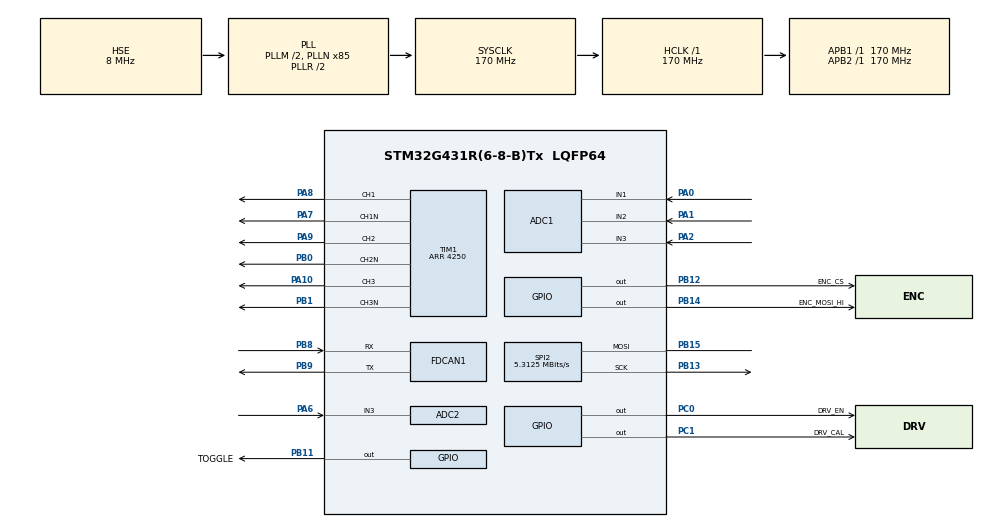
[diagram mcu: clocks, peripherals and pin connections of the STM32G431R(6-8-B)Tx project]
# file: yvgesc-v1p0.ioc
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ADC1.Channel-0\#ChannelRegularConversion=ADC_CHANNEL_VREFINT
ADC1.ClockPrescaler=ADC_CLOCK_SYNC_PCLK_DIV4
ADC1.EOCSelection=ADC_EOC_SEQ_CONV
ADC1.EnableInjectedConversion=ENABLE
ADC1.ExternalTrigInjecConv=ADC_EXTERNALTRIGINJEC_T1_TRGO2
ADC1.ExternalTrigInjecConvEdge=ADC_EXTERNALTRIGINJECCONV_EDGE_FALLING
ADC1.InjNumberOfConversion=3
ADC1.InjectedChannel-10\#ChannelInjectedConversion=ADC_CHANNEL_3
ADC1.InjectedChannel-8\#ChannelInjectedConversion=ADC_CHANNEL_1
ADC1.InjectedChannel-9\#ChannelInjectedConversion=ADC_CHANNEL_2
ADC1.InjectedOffsetNumber-10\#ChannelInjectedConversion=ADC_OFFSET_NONE
ADC1.InjectedOffsetNumber-8\#ChannelInjectedConversion=ADC_OFFSET_NONE
ADC1.InjectedOffsetNumber-9\#ChannelInjectedConversion=ADC_OFFSET_NONE
ADC1.InjectedRank-10\#ChannelInjectedConversion=3
ADC1.InjectedRank-8\#ChannelInjectedConversion=1
ADC1.InjectedRank-9\#ChannelInjectedConversion=2
ADC1.InjectedSamplingTime-10\#ChannelInjectedConversion=ADC_SAMPLETIME_24CYCLES_5
ADC1.InjectedSamplingTime-8\#ChannelInjectedConversion=ADC_SAMPLETIME_24CYCLES_5
ADC1.InjectedSamplingTime-9\#ChannelInjectedConversion=ADC_SAMPLETIME_24CYCLES_5
ADC1.NbrOfConversion=1
ADC1.NbrOfConversionFlag=1
ADC1.OffsetNumber-0\#ChannelRegularConversion=ADC_OFFSET_NONE
ADC1.Overrun=ADC_OVR_DATA_OVERWRITTEN
ADC1.Rank-0\#ChannelRegularConversion=1
ADC1.Rank1_Channel=ADC_CHANNEL_1
ADC1.Rank2_Channel=ADC_CHANNEL_2
ADC1.Rank3_Channel=ADC_CHANNEL_3
ADC1.Rank4_Channel=ADC_CHANNEL_VREFINT
ADC1.SamplingTime-0\#ChannelRegularConversion=ADC_SAMPLETIME_247CYCLES_5
ADC1.master=1
ADC2.Channel-0\#ChannelRegularConversion=ADC_CHANNEL_3
ADC2.ClockPrescaler=ADC_CLOCK_SYNC_PCLK_DIV4
ADC2.NbrOfConversionFlag=1
ADC2.OffsetNumber-0\#ChannelRegularConversion=ADC_OFFSET_NONE
ADC2.Overrun=ADC_OVR_DATA_OVERWRITTEN
ADC2.Rank-0\#ChannelRegularConversion=1
ADC2.SamplingTime-0\#ChannelRegularConversion=ADC_SAMPLETIME_247CYCLES_5
FDCAN1.AutoRetransmission=ENABLE
FDCAN1.CalculateBaudRateNominal=500000
FDCAN1.CalculateTimeBitNominal=2000
FDCAN1.CalculateTimeQuantumNominal=125.0
FDCAN1.Mode=FDCAN_MODE_NORMAL
FDCAN1.NominalPrescaler=1
FDCAN1.NominalSyncJumpWidth=2
FDCAN1.NominalTimeSeg1=13
FDCAN1.NominalTimeSeg2=2
FDCAN1.StdFiltersNbr=1
Mcu.Family=STM32G4
Mcu.Name=STM32G431R(6-8-B)Tx
Mcu.Package=LQFP64
NVIC.ADC1_2_IRQn=true\:0\:0\:false\:false\:true\:true\:true\:true
NVIC.FDCAN1_IT0_IRQn=true\:1\:0\:true\:false\:true\:true\:true\:true
NVIC.PriorityGroup=NVIC_PRIORITYGROUP_4
PA0.Mode=IN1-Single-Ended
PA0.Signal=ADC1_IN1
PA1.Mode=IN2-Single-Ended
PA1.Signal=ADC1_IN2
PA10.Signal=S_TIM1_CH3
PA13.Mode=Serial_Wire
PA13.Signal=SYS_JTMS-SWDIO
PA14.Mode=Serial_Wire
PA14.Signal=SYS_JTCK-SWCLK
PA2.Mode=IN3-Single-Ended
PA2.Signal=ADC1_IN3
PA6.Mode=IN3-Single-Ended
PA6.Signal=ADC2_IN3
PA7.Mode=PWM Generation1 CH1 CH1N
PA7.Signal=TIM1_CH1N
PA8.Signal=S_TIM1_CH1
PA9.Signal=S_TIM1_CH2
PB0.Mode=PWM Generation2 CH2 CH2N
PB0.Signal=TIM1_CH2N
PB1.Mode=PWM Generation3 CH3 CH3N
PB1.Signal=TIM1_CH3N
PB11.GPIO_Label=TOGGLE
PB11.Signal=GPIO_Output
PB12.GPIO_Label=ENC_CS
PB12.PinState=GPIO_PIN_SET
PB12.Signal=GPIO_Output
PB13.Mode=Simplex_Bidirectional_Master
PB13.Signal=SPI2_SCK
PB14.GPIO_Label=ENC_MOSI_HI
PB14.PinState=GPIO_PIN_SET
PB14.Signal=GPIO_Output
PB15.Mode=Simplex_Bidirectional_Master
PB15.Signal=SPI2_MOSI
PB8-BOOT0.Mode=FDCAN_Activate
PB8-BOOT0.Signal=FDCAN1_RX
PB9.Mode=FDCAN_Activate
PB9.Signal=FDCAN1_TX
PC0.GPIO_Label=DRV_EN
PC0.Signal=GPIO_Output
PC1.GPIO_Label=DRV_CAL
PC1.Signal=GPIO_Output
PF0-OSC_IN.Mode=HSE-External-Oscillator
PF0-OSC_IN.Signal=RCC_OSC_IN
PF1-OSC_OUT.Mode=HSE-External-Oscillator
PF1-OSC_OUT.Signal=RCC_OSC_OUT
ProjectManager.HeapSize=0x200
ProjectManager.StackSize=0x400
ProjectManager.TargetToolchain=CMake
RCC.ADC12Freq_Value=170000000
RCC.AHBFreq_Value=170000000
RCC.APB1Freq_Value=170000000
RCC.APB1TimFreq_Value=170000000
RCC.APB2Freq_Value=170000000
RCC.APB2TimFreq_Value=170000000
RCC.CortexFreq_Value=170000000
RCC.EXTERNAL_CLOCK_VALUE=12288000
RCC.FDCANCLockSelection=RCC_FDCANCLKSOURCE_HSE
RCC.HCLKFreq_Value=170000000
RCC.HSE_VALUE=8000000
RCC.HSI48_VALUE=48000000
RCC.HSI_VALUE=16000000
RCC.LSE_VALUE=32768
RCC.PLLM=RCC_PLLM_DIV2
RCC.PLLN=85
RCC.PLLSourceVirtual=RCC_PLLSOURCE_HSE
RCC.SYSCLKFreq_VALUE=170000000
RCC.SYSCLKSource=RCC_SYSCLKSOURCE_PLLCLK
RCC.USBFreq_Value=170000000
RCC.VCOOutputFreq_Value=340000000
SH.S_TIM1_CH1.0=TIM1_CH1,PWM Generation1 CH1 CH1N
SH.S_TIM1_CH2.0=TIM1_CH2,PWM Generation2 CH2 CH2N
SH.S_TIM1_CH3.0=TIM1_CH3,PWM Generation3 CH3 CH3N
SPI2.BaudRatePrescaler=SPI_BAUDRATEPRESCALER_32
SPI2.CLKPhase=SPI_PHASE_2EDGE
SPI2.CalculateBaudRate=5.3125 MBits/s
SPI2.DataSize=SPI_DATASIZE_16BIT
SPI2.Direction=SPI_DIRECTION_1LINE
SPI2.Mode=SPI_MODE_MASTER
SPI2.VirtualType=VM_MASTER
TIM1.AutoReloadPreload=TIM_AUTORELOAD_PRELOAD_ENABLE
TIM1.Channel-PWM\ Generation1\ CH1\ CH1N=TIM_CHANNEL_1
TIM1.Channel-PWM\ Generation2\ CH2\ CH2N=TIM_CHANNEL_2
TIM1.Channel-PWM\ Generation3\ CH3\ CH3N=TIM_CHANNEL_3
TIM1.Channel-PWM\ Generation4\ No\ Output=TIM_CHANNEL_4
TIM1.CounterMode=TIM_COUNTERMODE_CENTERALIGNED1
TIM1.DeadTime=21
TIM1.OffStateIDLEMode=TIM_OSSI_ENABLE
TIM1.OffStateRunMode=TIM_OSSR_ENABLE
TIM1.PeriodNoDither=4250
TIM1.PulseNoDither_4=4249
TIM1.TIM_MasterOutputTrigger2=TIM_TRGO2_OC4REF
VP_ADC1_Vref_Input.Mode=IN-Vrefint
VP_SYS_VS_DBSignals.Mode=DisableDeadBatterySignals
VP_TIM1_VS_ClockSourceINT.Mode=Internal
VP_TIM1_VS_no_output4.Mode=PWM Generation4 No Output
board=custom

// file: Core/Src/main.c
/* USER CODE BEGIN Header */
/**
  ******************************************************************************
  * @file           : main.c
  * @brief          : Main program body
  ******************************************************************************
  * @attention
  *
  * Copyright (c) 2026 STMicroelectronics.
  * All rights reserved.
  *
  * This software is licensed under terms that can be found in the LICENSE file
  * in the root directory of this software component.
  * If no LICENSE file comes with this software, it is provided AS-IS.
  *
  ******************************************************************************
  */
/* USER CODE END Header */
#include "main.h"

/* USER CODE BEGIN Includes */

#include <math.h>
#include <string.h>

/* USER CODE END Includes */

ADC_HandleTypeDef hadc1;
ADC_HandleTypeDef hadc2;

FDCAN_HandleTypeDef hfdcan1;

SPI_HandleTypeDef hspi2;

TIM_HandleTypeDef htim1;

/* USER CODE BEGIN PV */

volatile uint32_t rst = 0; //reset cue
volatile uint32_t pwm_ms = 5000;  //pwm timeout

volatile float pole_pairs = 20.0f; // pole pairs

volatile uint32_t pwm_run = 0;

volatile uint32_t ol_mode = 0;    /* 1 = open-loop */
volatile float ol_amp  = 0.0f;    /* vector amplitude (0.4 A per count) */
volatile float ol_deg  = 0.0f;    /* electrical angle, degrees */
volatile float ol_rate = 0.0f;    /* degrees added per loop (~1 ms) */
volatile float ol_v = 0.0f;        /* vector amplitude in volts , ~0.1 V = 1 A */

//encoder
volatile uint16_t raw, ang, amin = 0xFFFF, amax = 0;
volatile uint32_t par_err = 0, ef_cnt = 0, reads = 0;
volatile uint32_t drv_on = 1;

volatile uint32_t ang32 = 0;

//adc
volatile uint32_t nf_adc;
volatile uint32_t adc_st;
volatile uint32_t vref_adc, vref_st, vdda_mv;

//sense outputs
volatile uint16_t so[3], so_min[3] = {4095,4095,4095}, so_max[3] = {0,0,0};
volatile uint16_t vr_min = 4095, vr_max = 0;
volatile uint32_t cal_on = 0;

//CAN
FDCAN_TxHeaderTypeDef txh;
FDCAN_RxHeaderTypeDef rxh;
uint8_t txd[8], rxd[8];
volatile uint32_t can_tx = 0, can_rx = 0, can_txerr = 0, can_rxid = 0;
volatile uint32_t can_tec = 0, can_rec = 0, can_busoff = 0;

//PWM
volatile uint32_t pwm_on = 0; /* true starting condition */
volatile uint32_t duty[3] = {0, 0, 0};     /* percent A,B,C */

//encoder alignment
volatile int32_t  off[3] = {2048, 2048, 2048};   /* zero current offsets */
volatile float    ia, ib, ic, isum;              /* phase currents, amps */
volatile uint32_t isr_cnt = 0, cal_req = 1;

#define A_PER_COUNT  (3.3f / 4095.0f / (40.0f * 0.001f))   /* ~0.0201 A/count */

volatile float    e_deg;            /* electrical angle from encoder, degrees */
volatile float    e_off = 0.0f;     /* alignment offset, degrees */
volatile uint32_t align_req = 0;    /* Alignment request between e_deg and ol_deg */

//foc
volatile uint32_t foc_mode = 0;          /* Foc mode: current PI loop drives pwm  */
volatile float id_ref = 0.0f, iq_ref = 0.0f;   /* commanded current (A) */
volatile float id, iq, vd, vq;           /* measured current and voltage in d/q */
volatile float kp = 0.3f;                /* TORQUE MODE Kp V/A   (L × ωc, ωc = 2π·1 kHz) */
volatile float ki_ts = 0.03f;            /* TORQUE MODE Ki V/A (R × ωc × Ts) */
volatile float i_max = 2.0f;             // A
volatile float i_trip = 8.0f;            // A
volatile uint32_t foc_fault = 0, isr_cycles = 0;
#define VBUS 12.0f

volatile float e_err;

//FLASH

#define CAL_ADDR  0x0801F800UL
#define CAL_PAGE  63
#define CAL_MAGIC 0xCA1B0001UL
typedef struct __attribute__((aligned(8))) {
    uint32_t magic, ver;
    float    e_off, pole_pairs;
    uint32_t sum, pad;
} cal_t;
volatile uint32_t save_req = 0, cal_ok = 0;
volatile int32_t  save_res = 0;

//velocity

volatile float vel_ref  = 0.0f;      // commanded speed, rad/s (mechanical)
volatile float vel      = 0.0f;      // estimated speed, rad/s
volatile float rpm      = 0.0f;      // same, in RPM, for viewing
volatile float pos      = 0.0f;      // multi-turn position, rad
volatile float vel_kp   = 0.05f;     // Velocity kp , A per rad/s
volatile float vel_ki   = 0.5f;      // Velocity ki , A per rad
volatile float pll_bw   = 1000.0f;   // speed estimator bandwidth, rad/s
volatile float vel_trip = 150.0f;    // overspeed trip, rad/s (150 = 1430 RPM)
volatile float iq_cmd   = 0.0f;      // current loop command (A) (Reading, not a setting)

//position/impedance
volatile uint32_t ctrl_mode = 0;   // 0 = torque mode/iq_ref, 1 = velocity/vref, 2 = position/impedance posref,ff
volatile float p_ref  = 0.0f;      /* target motor position, rad*/
volatile float v_ff   = 0.0f;      /* target velocity, rad/s */
volatile float t_ff   = 0.0f;      /* feed-forward torque, N·m */
volatile float kp_p   = 0.1f;      /* Position Kp, Nm per rad */
volatile float kd_p   = 0.002f;    /* Position kd, Nm per (rad/s) */
volatile float kt     = 0.08f;     /* Nm per A */
volatile float p_rel  = 0.0f;      /* rad */
volatile float pos_zero = 0.0f, torque_cmd = 0.0f;
volatile uint32_t zero_req = 0;

//CAN
#define NODE_ID 1
#define P_MAX 12.5f
#define V_MAX 100.0f
#define KP_MAX 5.0f
#define KD_MAX 0.1f
#define T_MAX 1.0f
volatile uint32_t can_en = 0, can_cmd_cnt = 0, can_timeout_cnt = 0, last_cmd_ms = 0;

volatile uint32_t rst_csr = 0;
volatile uint32_t last_param_ms = 0, keepalive = 1;

/* USER CODE END PV */

void SystemClock_Config(void);
static void MX_GPIO_Init(void);
static void MX_SPI2_Init(void);
static void MX_ADC2_Init(void);
static void MX_ADC1_Init(void);
static void MX_FDCAN1_Init(void);
static void MX_TIM1_Init(void);

/* USER CODE BEGIN 0 */

static uint32_t cal_sum(const cal_t *c) {
    const uint32_t *p = (const uint32_t *)c;
    return p[0] + p[1] + p[2] + p[3] + 0x5A5A5A5AUL;
}
static int cal_load(void) {
    const cal_t *c = (const cal_t *)CAL_ADDR;
    if (c->magic != CAL_MAGIC || c->sum != cal_sum(c)) return 0;
    e_off = c->e_off;  pole_pairs = c->pole_pairs;
    return 1;
}
static int32_t cal_save(void) {
    if (pwm_run) return -1;
    cal_t c = { CAL_MAGIC, 1, e_off, pole_pairs, 0, 0 };
    c.sum = cal_sum(&c);
    HAL_FLASH_Unlock();
    __HAL_FLASH_CLEAR_FLAG(FLASH_FLAG_ALL_ERRORS);
    FLASH_EraseInitTypeDef er = { .TypeErase = FLASH_TYPEERASE_PAGES,
                                  .Banks = FLASH_BANK_1, .Page = CAL_PAGE, .NbPages = 1 };
    uint32_t perr;
    if (HAL_FLASHEx_Erase(&er, &perr) != HAL_OK) { HAL_FLASH_Lock(); return -2; }
    const uint64_t *d = (const uint64_t *)&c;
    for (uint32_t i = 0; i < sizeof(c) / 8; i++)
        if (HAL_FLASH_Program(FLASH_TYPEPROGRAM_DOUBLEWORD, CAL_ADDR + 8 * i, d[i]) != HAL_OK)
            { HAL_FLASH_Lock(); return -3; }
    HAL_FLASH_Lock();
    return cal_load() ? 0 : -4;
}

static uint16_t enc_frame(void)
{
    uint16_t rx = 0;
    HAL_GPIO_WritePin(ENC_CS_GPIO_Port, ENC_CS_Pin, GPIO_PIN_RESET);
    HAL_SPI_Receive(&hspi2, (uint8_t *)&rx, 1, 10);   /* receive only, no transmit */
    HAL_GPIO_WritePin(ENC_CS_GPIO_Port, ENC_CS_Pin, GPIO_PIN_SET);
    return rx;
}

//can packing
static uint32_t f2u(float x, float lo, float hi, int bits) {
    if (x < lo) x = lo;
    if (x > hi) x = hi;
    return (uint32_t)((x - lo) * (float)((1u << bits) - 1) / (hi - lo));
}
static float u2f(uint32_t u, float lo, float hi, int bits) {
    return (float)u * (hi - lo) / (float)((1u << bits) - 1) + lo;
}

/* USER CODE END 0 */

int main(void)
{

  /* USER CODE BEGIN 1 */

	rst_csr = RCC->CSR;
	   RCC->CSR |= RCC_CSR_RMVF;

  /* USER CODE END 1 */

  /* MCU Configuration--------------------------------------------------------*/

  /* Reset of all peripherals, Initializes the Flash interface and the Systick. */
  HAL_Init();

  /* Configure the system clock */
  SystemClock_Config();

  /* Initialize all configured peripherals */
  MX_GPIO_Init();
  MX_SPI2_Init();
  MX_ADC2_Init();
  MX_ADC1_Init();
  MX_FDCAN1_Init();
  MX_TIM1_Init();
  /* USER CODE BEGIN 2 */

  CoreDebug->DEMCR |= CoreDebug_DEMCR_TRCENA_Msk;
  DWT->CYCCNT = 0;
  DWT->CTRL |= DWT_CTRL_CYCCNTENA_Msk;

  HAL_Delay(10);
  HAL_ADCEx_Calibration_Start(&hadc2, ADC_SINGLE_ENDED);
  HAL_ADCEx_Calibration_Start(&hadc1, ADC_SINGLE_ENDED);

  HAL_FDCAN_ConfigGlobalFilter(&hfdcan1, FDCAN_ACCEPT_IN_RX_FIFO0,
                               FDCAN_REJECT, FDCAN_FILTER_REMOTE, FDCAN_FILTER_REMOTE);
  HAL_FDCAN_ActivateNotification(&hfdcan1, FDCAN_IT_RX_FIFO0_NEW_MESSAGE, 0);
  HAL_FDCAN_Start(&hfdcan1);

  txh.Identifier          = 0x123;
  txh.IdType              = FDCAN_STANDARD_ID;
  txh.TxFrameType         = FDCAN_DATA_FRAME;
  txh.DataLength          = FDCAN_DLC_BYTES_8;
  txh.ErrorStateIndicator = FDCAN_ESI_ACTIVE;
  txh.BitRateSwitch       = FDCAN_BRS_OFF;
  txh.FDFormat            = FDCAN_CLASSIC_CAN;
  txh.TxEventFifoControl  = FDCAN_NO_TX_EVENTS;
  txh.MessageMarker       = 0;

  __HAL_DBGMCU_FREEZE_TIM1(); /* stop TIM1 when debugger pauses */
  HAL_TIM_PWM_Start(&htim1, TIM_CHANNEL_1);  HAL_TIMEx_PWMN_Start(&htim1, TIM_CHANNEL_1);
  HAL_TIM_PWM_Start(&htim1, TIM_CHANNEL_2);  HAL_TIMEx_PWMN_Start(&htim1, TIM_CHANNEL_2);
  HAL_TIM_PWM_Start(&htim1, TIM_CHANNEL_3);  HAL_TIMEx_PWMN_Start(&htim1, TIM_CHANNEL_3);
  __HAL_TIM_MOE_DISABLE_UNCONDITIONALLY(&htim1);

  HAL_TIM_PWM_Start(&htim1, TIM_CHANNEL_4); /* internal ADC trigger */
  HAL_ADCEx_InjectedStart_IT(&hadc1);

  //HAL_GPIO_WritePin(DRV_EN_GPIO_Port, DRV_EN_Pin, GPIO_PIN_SET);
  HAL_Delay(2);

  cal_ok = cal_load(); // restore e_off and pole_pairs
  foc_mode = 0; ol_mode = 1; ol_v = 0.0f; //foc and open loop mode settings
  foc_fault = 0;

  /* USER CODE END 2 */

  /* Infinite loop */
  while (1)
    {

    /* USER CODE BEGIN 3 */

	  //calibration save
      if (save_req && !pwm_run) { save_res = cal_save(); save_req = 0; }

      if (rst) {
          rst = 0;
          for (int i = 0; i < 3; i++) { so_min[i] = 4095; so_max[i] = 0; }
          amin = 0xFFFF; amax = 0;
          vr_min = 4095; vr_max = 0;
      }
      /* drv8323h */
      HAL_GPIO_WritePin(DRV_EN_GPIO_Port, DRV_EN_Pin,
                        drv_on ? GPIO_PIN_SET : GPIO_PIN_RESET);
      HAL_GPIO_WritePin(DRV_CAL_GPIO_Port, DRV_CAL_Pin,
                        cal_on ? GPIO_PIN_SET : GPIO_PIN_RESET);
      HAL_ADC_Start(&hadc1);
      if (HAL_ADC_PollForConversion(&hadc1, 2) == HAL_OK) {
          vref_adc = HAL_ADC_GetValue(&hadc1);
          if (vref_adc < vr_min) vr_min = vref_adc;
          if (vref_adc > vr_max) vr_max = vref_adc;
          if (vref_adc > 0)
              vdda_mv = __HAL_ADC_CALC_VREFANALOG_VOLTAGE(vref_adc, ADC_RESOLUTION_12B);
      }
      /* PA6 nfault ADC2 */
      HAL_ADC_Start(&hadc2);
      adc_st = HAL_ADC_PollForConversion(&hadc2, 2);
      if (adc_st == HAL_OK) nf_adc = HAL_ADC_GetValue(&hadc2);

      /* AS5047P spi2 half duplex receive */
      /*
      raw = enc_frame();
      reads++;
      if (__builtin_parity(raw))      par_err++;
      else if (raw & 0x4000)          ef_cnt++;
      else {
          ang = raw & 0x3FFF;
          if (ang < amin) amin = ang;
          if (ang > amax) amax = ang;
      }
      */

      /* Encoder align */
      /*

      float mech = ang * (360.0f / 16384.0f);
      float raw_e = fmodf(mech * pole_pairs, 360.0f);
      if (align_req && pwm_run) { e_off = raw_e; align_req = 0; }
      e_deg = raw_e - e_off;
      if (e_deg < 0.0f) e_deg += 360.0f;
      */
      e_err = fmodf(e_deg - ol_deg + 540.0f, 360.0f) - 180.0f;   /* -180..+180 */

      /* FDCAN counter
      static uint32_t tc = 0;
      if (HAL_GetTick() - tc >= 100) {
          tc = HAL_GetTick();
          txd[0] = (uint8_t)can_tx; //counter
          if (HAL_FDCAN_AddMessageToTxFifoQ(&hfdcan1, &txh, txd) == HAL_OK) can_tx++;
          else can_txerr++;
      }
      */

      /* bus health */
      FDCAN_ErrorCountersTypeDef ec;
      FDCAN_ProtocolStatusTypeDef ps;
      HAL_FDCAN_GetErrorCounters(&hfdcan1, &ec);
      HAL_FDCAN_GetProtocolStatus(&hfdcan1, &ps);
      can_tec = ec.TxErrorCnt;  can_rec = ec.RxErrorCnt;  can_busoff = ps.BusOff;

      /* Initial boot */

      static uint8_t boot_cal = 0;
      if (!boot_cal && HAL_GetTick() > 1000) {     /* 1 s after reset */
          boot_cal = 1;
          foc_mode = 0; ol_mode = 1; ol_v = 0.0f;
          cal_req = 1; pwm_ms = 200; pwm_on = 1;
      }
      static uint8_t boot_ms = 0;
      if (boot_cal && !boot_ms && !pwm_run && !cal_req) {
          boot_ms = 1; pwm_ms = 2000; /* restore normal run length on boot */
      }

      /* PWM */

      if (pwm_ms > 60000) pwm_ms = 60000;   /*60s limit*/

      uint32_t arr = __HAL_TIM_GET_AUTORELOAD(&htim1);

      if (!foc_mode) {
      if (ol_mode) {
          if (ol_v > 0.3f) ol_v = 0.3f;  /* open loop limit: 3A */
          float k = arr / 12.0f;
          if (pwm_run) ol_deg += ol_rate;
          if (ol_deg >= 360.0f) ol_deg -= 360.0f;
          if (ol_deg < 0.0f)    ol_deg += 360.0f;
          float th = ol_deg * 0.0174533f;
          float b  = arr / 2.0f;
          __HAL_TIM_SET_COMPARE(&htim1, TIM_CHANNEL_1, (uint32_t)(b + ol_v * k * cosf(th)));
          __HAL_TIM_SET_COMPARE(&htim1, TIM_CHANNEL_2, (uint32_t)(b + ol_v * k * cosf(th - 2.0944f)));
          __HAL_TIM_SET_COMPARE(&htim1, TIM_CHANNEL_3, (uint32_t)(b + ol_v * k * cosf(th + 2.0944f)));
      } else {
          for (int i = 0; i < 3; i++) if (duty[i] > 100) duty[i] = 100;
          __HAL_TIM_SET_COMPARE(&htim1, TIM_CHANNEL_1, duty[0] * arr / 100);
          __HAL_TIM_SET_COMPARE(&htim1, TIM_CHANNEL_2, duty[1] * arr / 100);
          __HAL_TIM_SET_COMPARE(&htim1, TIM_CHANNEL_3, duty[2] * arr / 100);
      }
      }

      /* CAN*/
      static uint32_t t_on = 0;
      static uint8_t was_can = 0;
      uint32_t lc = last_cmd_ms;
      if (can_en && (HAL_GetTick() - lc > 100)) { /* 100 ms timeout */
                can_en = 0; can_timeout_cnt++;
            }
      if (can_en) {
          pwm_run = foc_fault ? 0 : 1; /* CAN in control */
      } else {
          if (was_can) pwm_run = 0; /* CAN stopped */
          if (pwm_on) { pwm_on = 0; if (!foc_fault) { pwm_run = 1; t_on = HAL_GetTick(); } }
          if (pwm_run && (HAL_GetTick() - t_on >= pwm_ms)) pwm_run = 0;
          uint32_t lp = last_param_ms;
          if (keepalive && pwm_run && !cal_req && (HAL_GetTick() - lp > 1000))
                        pwm_run = 0;
      }
      was_can = can_en;

      if (drv_on && pwm_run) __HAL_TIM_MOE_ENABLE(&htim1);
      else                   __HAL_TIM_MOE_DISABLE_UNCONDITIONALLY(&htim1);

      /* PB11 blink */
      static uint32_t t = 0;
      if (HAL_GetTick() - t >= 500) {
          t = HAL_GetTick();
          HAL_GPIO_TogglePin(TOGGLE_GPIO_Port, TOGGLE_Pin);
      }

      HAL_Delay(1);
    }
  /* USER CODE END 3 */
}

void SystemClock_Config(void)
{
  RCC_OscInitTypeDef RCC_OscInitStruct = {0};
  RCC_ClkInitTypeDef RCC_ClkInitStruct = {0};

  /** Configure the main internal regulator output voltage
  */
  HAL_PWREx_ControlVoltageScaling(PWR_REGULATOR_VOLTAGE_SCALE1_BOOST);

  /** Initializes the RCC Oscillators according to the specified parameters
  * in the RCC_OscInitTypeDef structure.
  */
  RCC_OscInitStruct.OscillatorType = RCC_OSCILLATORTYPE_HSE;
  RCC_OscInitStruct.HSEState = RCC_HSE_ON;
  RCC_OscInitStruct.PLL.PLLState = RCC_PLL_ON;
  RCC_OscInitStruct.PLL.PLLSource = RCC_PLLSOURCE_HSE;
  RCC_OscInitStruct.PLL.PLLM = RCC_PLLM_DIV2;
  RCC_OscInitStruct.PLL.PLLN = 85;
  RCC_OscInitStruct.PLL.PLLP = RCC_PLLP_DIV2;
  RCC_OscInitStruct.PLL.PLLQ = RCC_PLLQ_DIV2;
  RCC_OscInitStruct.PLL.PLLR = RCC_PLLR_DIV2;
  if (HAL_RCC_OscConfig(&RCC_OscInitStruct) != HAL_OK)
  {
    Error_Handler();
  }

  /** Initializes the CPU, AHB and APB buses clocks
  */
  RCC_ClkInitStruct.ClockType = RCC_CLOCKTYPE_HCLK|RCC_CLOCKTYPE_SYSCLK
                              |RCC_CLOCKTYPE_PCLK1|RCC_CLOCKTYPE_PCLK2;
  RCC_ClkInitStruct.SYSCLKSource = RCC_SYSCLKSOURCE_PLLCLK;
  RCC_ClkInitStruct.AHBCLKDivider = RCC_SYSCLK_DIV1;
  RCC_ClkInitStruct.APB1CLKDivider = RCC_HCLK_DIV1;
  RCC_ClkInitStruct.APB2CLKDivider = RCC_HCLK_DIV1;

  if (HAL_RCC_ClockConfig(&RCC_ClkInitStruct, FLASH_LATENCY_4) != HAL_OK)
  {
    Error_Handler();
  }
}

static void MX_ADC1_Init(void)
{

  ADC_MultiModeTypeDef multimode = {0};
  ADC_ChannelConfTypeDef sConfig = {0};
  ADC_InjectionConfTypeDef sConfigInjected = {0};

  /** Common config
  */
  hadc1.Instance = ADC1;
  hadc1.Init.ClockPrescaler = ADC_CLOCK_SYNC_PCLK_DIV4;
  hadc1.Init.Resolution = ADC_RESOLUTION_12B;
  hadc1.Init.DataAlign = ADC_DATAALIGN_RIGHT;
  hadc1.Init.GainCompensation = 0;
  hadc1.Init.ScanConvMode = ADC_SCAN_ENABLE;
  hadc1.Init.EOCSelection = ADC_EOC_SEQ_CONV;
  hadc1.Init.LowPowerAutoWait = DISABLE;
  hadc1.Init.ContinuousConvMode = DISABLE;
  hadc1.Init.NbrOfConversion = 1;
  hadc1.Init.DiscontinuousConvMode = DISABLE;
  hadc1.Init.ExternalTrigConv = ADC_SOFTWARE_START;
  hadc1.Init.ExternalTrigConvEdge = ADC_EXTERNALTRIGCONVEDGE_NONE;
  hadc1.Init.DMAContinuousRequests = DISABLE;
  hadc1.Init.Overrun = ADC_OVR_DATA_OVERWRITTEN;
  hadc1.Init.OversamplingMode = DISABLE;
  if (HAL_ADC_Init(&hadc1) != HAL_OK)
  {
    Error_Handler();
  }

  /** Configure the ADC multi-mode
  */
  multimode.Mode = ADC_MODE_INDEPENDENT;
  if (HAL_ADCEx_MultiModeConfigChannel(&hadc1, &multimode) != HAL_OK)
  {
    Error_Handler();
  }

  /** Configure Regular Channel
  */
  sConfig.Channel = ADC_CHANNEL_VREFINT;
  sConfig.Rank = ADC_REGULAR_RANK_1;
  sConfig.SamplingTime = ADC_SAMPLETIME_247CYCLES_5;
  sConfig.SingleDiff = ADC_SINGLE_ENDED;
  sConfig.OffsetNumber = ADC_OFFSET_NONE;
  sConfig.Offset = 0;
  if (HAL_ADC_ConfigChannel(&hadc1, &sConfig) != HAL_OK)
  {
    Error_Handler();
  }

  /** Configure Injected Channel
  */
  sConfigInjected.InjectedChannel = ADC_CHANNEL_1;
  sConfigInjected.InjectedRank = ADC_INJECTED_RANK_1;
  sConfigInjected.InjectedSamplingTime = ADC_SAMPLETIME_24CYCLES_5;
  sConfigInjected.InjectedSingleDiff = ADC_SINGLE_ENDED;
  sConfigInjected.InjectedOffsetNumber = ADC_OFFSET_NONE;
  sConfigInjected.InjectedOffset = 0;
  sConfigInjected.InjectedNbrOfConversion = 3;
  sConfigInjected.InjectedDiscontinuousConvMode = DISABLE;
  sConfigInjected.AutoInjectedConv = DISABLE;
  sConfigInjected.QueueInjectedContext = DISABLE;
  sConfigInjected.ExternalTrigInjecConv = ADC_EXTERNALTRIGINJEC_T1_TRGO2;
  sConfigInjected.ExternalTrigInjecConvEdge = ADC_EXTERNALTRIGINJECCONV_EDGE_FALLING;
  sConfigInjected.InjecOversamplingMode = DISABLE;
  if (HAL_ADCEx_InjectedConfigChannel(&hadc1, &sConfigInjected) != HAL_OK)
  {
    Error_Handler();
  }

  /** Configure Injected Channel
  */
  sConfigInjected.InjectedChannel = ADC_CHANNEL_2;
  sConfigInjected.InjectedRank = ADC_INJECTED_RANK_2;
  if (HAL_ADCEx_InjectedConfigChannel(&hadc1, &sConfigInjected) != HAL_OK)
  {
    Error_Handler();
  }

  /** Configure Injected Channel
  */
  sConfigInjected.InjectedChannel = ADC_CHANNEL_3;
  sConfigInjected.InjectedRank = ADC_INJECTED_RANK_3;
  if (HAL_ADCEx_InjectedConfigChannel(&hadc1, &sConfigInjected) != HAL_OK)
  {
    Error_Handler();
  }

}

static void MX_ADC2_Init(void)
{

  ADC_ChannelConfTypeDef sConfig = {0};

  /** Common config
  */
  hadc2.Instance = ADC2;
  hadc2.Init.ClockPrescaler = ADC_CLOCK_SYNC_PCLK_DIV4;
  hadc2.Init.Resolution = ADC_RESOLUTION_12B;
  hadc2.Init.DataAlign = ADC_DATAALIGN_RIGHT;
  hadc2.Init.GainCompensation = 0;
  hadc2.Init.ScanConvMode = ADC_SCAN_DISABLE;
  hadc2.Init.EOCSelection = ADC_EOC_SINGLE_CONV;
  hadc2.Init.LowPowerAutoWait = DISABLE;
  hadc2.Init.ContinuousConvMode = DISABLE;
  hadc2.Init.NbrOfConversion = 1;
  hadc2.Init.DiscontinuousConvMode = DISABLE;
  hadc2.Init.ExternalTrigConv = ADC_SOFTWARE_START;
  hadc2.Init.ExternalTrigConvEdge = ADC_EXTERNALTRIGCONVEDGE_NONE;
  hadc2.Init.DMAContinuousRequests = DISABLE;
  hadc2.Init.Overrun = ADC_OVR_DATA_OVERWRITTEN;
  hadc2.Init.OversamplingMode = DISABLE;
  if (HAL_ADC_Init(&hadc2) != HAL_OK)
  {
    Error_Handler();
  }

  /** Configure Regular Channel
  */
  sConfig.Channel = ADC_CHANNEL_3;
  sConfig.Rank = ADC_REGULAR_RANK_1;
  sConfig.SamplingTime = ADC_SAMPLETIME_247CYCLES_5;
  sConfig.SingleDiff = ADC_SINGLE_ENDED;
  sConfig.OffsetNumber = ADC_OFFSET_NONE;
  sConfig.Offset = 0;
  if (HAL_ADC_ConfigChannel(&hadc2, &sConfig) != HAL_OK)
  {
    Error_Handler();
  }

}

static void MX_FDCAN1_Init(void)
{

  hfdcan1.Instance = FDCAN1;
  hfdcan1.Init.ClockDivider = FDCAN_CLOCK_DIV1;
  hfdcan1.Init.FrameFormat = FDCAN_FRAME_CLASSIC;
  hfdcan1.Init.Mode = FDCAN_MODE_NORMAL;
  hfdcan1.Init.AutoRetransmission = ENABLE;
  hfdcan1.Init.TransmitPause = DISABLE;
  hfdcan1.Init.ProtocolException = DISABLE;
  hfdcan1.Init.NominalPrescaler = 1;
  hfdcan1.Init.NominalSyncJumpWidth = 2;
  hfdcan1.Init.NominalTimeSeg1 = 13;
  hfdcan1.Init.NominalTimeSeg2 = 2;
  hfdcan1.Init.DataPrescaler = 1;
  hfdcan1.Init.DataSyncJumpWidth = 1;
  hfdcan1.Init.DataTimeSeg1 = 1;
  hfdcan1.Init.DataTimeSeg2 = 1;
  hfdcan1.Init.StdFiltersNbr = 1;
  hfdcan1.Init.ExtFiltersNbr = 0;
  hfdcan1.Init.TxFifoQueueMode = FDCAN_TX_FIFO_OPERATION;
  if (HAL_FDCAN_Init(&hfdcan1) != HAL_OK)
  {
    Error_Handler();
  }

}

static void MX_SPI2_Init(void)
{

  /* SPI2 parameter configuration*/
  hspi2.Instance = SPI2;
  hspi2.Init.Mode = SPI_MODE_MASTER;
  hspi2.Init.Direction = SPI_DIRECTION_1LINE;
  hspi2.Init.DataSize = SPI_DATASIZE_16BIT;
  hspi2.Init.CLKPolarity = SPI_POLARITY_LOW;
  hspi2.Init.CLKPhase = SPI_PHASE_2EDGE;
  hspi2.Init.NSS = SPI_NSS_SOFT;
  hspi2.Init.BaudRatePrescaler = SPI_BAUDRATEPRESCALER_32;
  hspi2.Init.FirstBit = SPI_FIRSTBIT_MSB;
  hspi2.Init.TIMode = SPI_TIMODE_DISABLE;
  hspi2.Init.CRCCalculation = SPI_CRCCALCULATION_DISABLE;
  hspi2.Init.CRCPolynomial = 7;
  hspi2.Init.CRCLength = SPI_CRC_LENGTH_DATASIZE;
  hspi2.Init.NSSPMode = SPI_NSS_PULSE_DISABLE;
  if (HAL_SPI_Init(&hspi2) != HAL_OK)
  {
    Error_Handler();
  }

}

static void MX_TIM1_Init(void)
{

  TIM_ClockConfigTypeDef sClockSourceConfig = {0};
  TIM_MasterConfigTypeDef sMasterConfig = {0};
  TIM_OC_InitTypeDef sConfigOC = {0};
  TIM_BreakDeadTimeConfigTypeDef sBreakDeadTimeConfig = {0};

  htim1.Instance = TIM1;
  htim1.Init.Prescaler = 0;
  htim1.Init.CounterMode = TIM_COUNTERMODE_CENTERALIGNED1;
  htim1.Init.Period = 4250;
  htim1.Init.ClockDivision = TIM_CLOCKDIVISION_DIV1;
  htim1.Init.RepetitionCounter = 0;
  htim1.Init.AutoReloadPreload = TIM_AUTORELOAD_PRELOAD_ENABLE;
  if (HAL_TIM_Base_Init(&htim1) != HAL_OK)
  {
    Error_Handler();
  }
  sClockSourceConfig.ClockSource = TIM_CLOCKSOURCE_INTERNAL;
  if (HAL_TIM_ConfigClockSource(&htim1, &sClockSourceConfig) != HAL_OK)
  {
    Error_Handler();
  }
  if (HAL_TIM_PWM_Init(&htim1) != HAL_OK)
  {
    Error_Handler();
  }
  sMasterConfig.MasterOutputTrigger = TIM_TRGO_RESET;
  sMasterConfig.MasterOutputTrigger2 = TIM_TRGO2_OC4REF;
  sMasterConfig.MasterSlaveMode = TIM_MASTERSLAVEMODE_DISABLE;
  if (HAL_TIMEx_MasterConfigSynchronization(&htim1, &sMasterConfig) != HAL_OK)
  {
    Error_Handler();
  }
  sConfigOC.OCMode = TIM_OCMODE_PWM1;
  sConfigOC.Pulse = 0;
  sConfigOC.OCPolarity = TIM_OCPOLARITY_HIGH;
  sConfigOC.OCNPolarity = TIM_OCNPOLARITY_HIGH;
  sConfigOC.OCFastMode = TIM_OCFAST_DISABLE;
  sConfigOC.OCIdleState = TIM_OCIDLESTATE_RESET;
  sConfigOC.OCNIdleState = TIM_OCNIDLESTATE_RESET;
  if (HAL_TIM_PWM_ConfigChannel(&htim1, &sConfigOC, TIM_CHANNEL_1) != HAL_OK)
  {
    Error_Handler();
  }
  if (HAL_TIM_PWM_ConfigChannel(&htim1, &sConfigOC, TIM_CHANNEL_2) != HAL_OK)
  {
    Error_Handler();
  }
  if (HAL_TIM_PWM_ConfigChannel(&htim1, &sConfigOC, TIM_CHANNEL_3) != HAL_OK)
  {
    Error_Handler();
  }
  sConfigOC.Pulse = 4249;
  if (HAL_TIM_PWM_ConfigChannel(&htim1, &sConfigOC, TIM_CHANNEL_4) != HAL_OK)
  {
    Error_Handler();
  }
  sBreakDeadTimeConfig.OffStateRunMode = TIM_OSSR_ENABLE;
  sBreakDeadTimeConfig.OffStateIDLEMode = TIM_OSSI_ENABLE;
  sBreakDeadTimeConfig.LockLevel = TIM_LOCKLEVEL_OFF;
  sBreakDeadTimeConfig.DeadTime = 21;
  sBreakDeadTimeConfig.BreakState = TIM_BREAK_DISABLE;
  sBreakDeadTimeConfig.BreakPolarity = TIM_BREAKPOLARITY_HIGH;
  sBreakDeadTimeConfig.BreakFilter = 0;
  sBreakDeadTimeConfig.BreakAFMode = TIM_BREAK_AFMODE_INPUT;
  sBreakDeadTimeConfig.Break2State = TIM_BREAK2_DISABLE;
  sBreakDeadTimeConfig.Break2Polarity = TIM_BREAK2POLARITY_HIGH;
  sBreakDeadTimeConfig.Break2Filter = 0;
  sBreakDeadTimeConfig.Break2AFMode = TIM_BREAK_AFMODE_INPUT;
  sBreakDeadTimeConfig.AutomaticOutput = TIM_AUTOMATICOUTPUT_DISABLE;
  if (HAL_TIMEx_ConfigBreakDeadTime(&htim1, &sBreakDeadTimeConfig) != HAL_OK)
  {
    Error_Handler();
  }
  HAL_TIM_MspPostInit(&htim1);

}

static void MX_GPIO_Init(void)
{
  GPIO_InitTypeDef GPIO_InitStruct = {0};

  /* GPIO Ports Clock Enable */
  __HAL_RCC_GPIOF_CLK_ENABLE();
  __HAL_RCC_GPIOC_CLK_ENABLE();
  __HAL_RCC_GPIOA_CLK_ENABLE();
  __HAL_RCC_GPIOB_CLK_ENABLE();

  /*Configure GPIO pin Output Level */
  HAL_GPIO_WritePin(GPIOC, DRV_EN_Pin|DRV_CAL_Pin, GPIO_PIN_RESET);

  /*Configure GPIO pin Output Level */
  HAL_GPIO_WritePin(TOGGLE_GPIO_Port, TOGGLE_Pin, GPIO_PIN_RESET);

  /*Configure GPIO pin Output Level */
  HAL_GPIO_WritePin(GPIOB, ENC_CS_Pin|ENC_MOSI_HI_Pin, GPIO_PIN_SET);

  /*Configure GPIO pins : DRV_EN_Pin DRV_CAL_Pin */
  GPIO_InitStruct.Pin = DRV_EN_Pin|DRV_CAL_Pin;
  GPIO_InitStruct.Mode = GPIO_MODE_OUTPUT_PP;
  GPIO_InitStruct.Pull = GPIO_NOPULL;
  GPIO_InitStruct.Speed = GPIO_SPEED_FREQ_LOW;
  HAL_GPIO_Init(GPIOC, &GPIO_InitStruct);

  /*Configure GPIO pins : TOGGLE_Pin ENC_CS_Pin ENC_MOSI_HI_Pin */
  GPIO_InitStruct.Pin = TOGGLE_Pin|ENC_CS_Pin|ENC_MOSI_HI_Pin;
  GPIO_InitStruct.Mode = GPIO_MODE_OUTPUT_PP;
  GPIO_InitStruct.Pull = GPIO_NOPULL;
  GPIO_InitStruct.Speed = GPIO_SPEED_FREQ_LOW;
  HAL_GPIO_Init(GPIOB, &GPIO_InitStruct);

}

/* USER CODE BEGIN 4 */

enum { VT_F = 0, VT_U = 1, VT_I = 2 };
typedef struct { volatile void *p; uint8_t type; uint8_t rw; } var_t;

static const var_t vars[] = {
    /*  0 */ { &drv_on,          VT_U, 1 },
    /*  1 */ { &pwm_on,          VT_U, 1 },
    /*  2 */ { &pwm_ms,          VT_U, 1 },
    /*  3 */ { &pwm_run,         VT_U, 0 },
    /*  4 */ { &foc_mode,        VT_U, 1 },
    /*  5 */ { &ctrl_mode,       VT_U, 1 },
    /*  6 */ { &ol_mode,         VT_U, 1 },
    /*  7 */ { &ol_v,            VT_F, 1 },
    /*  8 */ { &ol_deg,          VT_F, 1 },
    /*  9 */ { &ol_rate,         VT_F, 1 },
    /* 10 */ { &cal_req,         VT_U, 1 },
    /* 11 */ { &align_req,       VT_U, 1 },
    /* 12 */ { &save_req,        VT_U, 1 },
    /* 13 */ { &save_res,        VT_I, 0 },
    /* 14 */ { &cal_ok,          VT_U, 0 },
    /* 15 */ { &zero_req,        VT_U, 1 },
    /* 16 */ { &foc_fault,       VT_U, 1 },
    /* 17 */ { &id_ref,          VT_F, 1 },
    /* 18 */ { &iq_ref,          VT_F, 1 },
    /* 19 */ { &i_max,           VT_F, 1 },
    /* 20 */ { &i_trip,          VT_F, 1 },
    /* 21 */ { &kp,              VT_F, 1 },
    /* 22 */ { &ki_ts,           VT_F, 1 },
    /* 23 */ { &vel_ref,         VT_F, 1 },
    /* 24 */ { &vel_kp,          VT_F, 1 },
    /* 25 */ { &vel_ki,          VT_F, 1 },
    /* 26 */ { &p_ref,           VT_F, 1 },
    /* 27 */ { &v_ff,            VT_F, 1 },
    /* 28 */ { &t_ff,            VT_F, 1 },
    /* 29 */ { &kp_p,            VT_F, 1 },
    /* 30 */ { &kd_p,            VT_F, 1 },
    /* 31 */ { &e_off,           VT_F, 1 },
    /* 32 */ { &pole_pairs,      VT_F, 1 },
    /* 33 */ { &id,              VT_F, 0 },
    /* 34 */ { &iq,              VT_F, 0 },
    /* 35 */ { &vd,              VT_F, 0 },
    /* 36 */ { &vq,              VT_F, 0 },
    /* 37 */ { &ia,              VT_F, 0 },
    /* 38 */ { &ib,              VT_F, 0 },
    /* 39 */ { &ic,              VT_F, 0 },
    /* 40 */ { &e_deg,           VT_F, 0 },
    /* 41 */ { &p_rel,           VT_F, 0 },
    /* 42 */ { &vel,             VT_F, 0 },
    /* 43 */ { &off[0],          VT_I, 0 },
    /* 44 */ { &off[1],          VT_I, 0 },
    /* 45 */ { &off[2],          VT_I, 0 },
    /* 46 */ { &isr_cycles,      VT_U, 0 },
    /* 47 */ { &nf_adc,          VT_U, 0 },
    /* 48 */ { &vdda_mv,         VT_U, 0 },
    /* 49 */ { &par_err,         VT_U, 0 },
    /* 50 */ { &ef_cnt,          VT_U, 0 },
    /* 51 */ { &can_timeout_cnt, VT_U, 0 },
	/* 52 */ { &ang32,           VT_U, 0 },
	/* 53 */ { &rst_csr,         VT_U, 0 },
};
#define NVARS ((uint8_t)(sizeof(vars) / sizeof(vars[0])))

static void param_req(const uint8_t *d)
{
	last_param_ms = HAL_GetTick();
    FDCAN_TxHeaderTypeDef th = txh;
    th.Identifier = 0x580 + NODE_ID;
    th.DataLength = FDCAN_DLC_BYTES_8;

    uint8_t r[8] = { 0 };
    uint8_t op = d[0], idx = d[1];
    r[1] = idx;

    if (op == 3) {                                    /* count */
        r[0] = 0x83;
        r[4] = NVARS;
    } else if ((op != 1 && op != 2) || idx >= NVARS) {
        r[0] = 0xFF;                                  /* bad request */
    } else {
        const var_t *v = &vars[idx];
        if (op == 2 && !v->rw) {
            r[0] = 0xFE;                              /* read-only */
        } else {
            if (op == 2) {                            /* single 32-bit store: atomic */
                uint32_t in;
                memcpy(&in, &d[4], 4);
                *(volatile uint32_t *)v->p = in;
            }
            uint32_t out = *(volatile uint32_t *)v->p;
            r[0] = op | 0x80;
            r[2] = v->type;
            memcpy(&r[4], &out, 4);
        }
    }
    HAL_FDCAN_AddMessageToTxFifoQ(&hfdcan1, &th, r);
}

static void send_reply(void)
{
    FDCAN_TxHeaderTypeDef th = txh;
    th.Identifier = 0x100 + NODE_ID;
    th.DataLength = FDCAN_DLC_BYTES_8;
    uint32_t p = f2u(p_rel, -P_MAX, P_MAX, 16);
    uint32_t v = f2u(vel,   -V_MAX, V_MAX, 12);
    uint32_t t = f2u(iq * kt, -T_MAX, T_MAX, 12);
    uint8_t r[8] = { NODE_ID, p >> 8, p & 0xFF, v >> 4,
                     ((v & 0xF) << 4) | (t >> 8), t & 0xFF,
                     (can_en ? 1 : 0) | (foc_fault ? 2 : 0), 0 };
    HAL_FDCAN_AddMessageToTxFifoQ(&hfdcan1, &th, r);
}

void HAL_FDCAN_RxFifo0Callback(FDCAN_HandleTypeDef *h, uint32_t its)
{
    if (!(its & FDCAN_IT_RX_FIFO0_NEW_MESSAGE)) return;
    FDCAN_RxHeaderTypeDef rh;
    uint8_t d[8];
    while (HAL_FDCAN_GetRxMessage(h, FDCAN_RX_FIFO0, &rh, d) == HAL_OK) {
        can_rx++;  can_rxid = rh.Identifier;
        if (rh.Identifier == 0x600 + NODE_ID && rh.DataLength == FDCAN_DLC_BYTES_8) {
                    param_req(d);
                    continue;
                }
        if (rh.Identifier != NODE_ID || rh.DataLength != FDCAN_DLC_BYTES_8) continue;

        if (d[0]==0xFF && d[1]==0xFF && d[2]==0xFF && d[3]==0xFF &&
            d[4]==0xFF && d[5]==0xFF && d[6]==0xFF) {           /* special */
            switch (d[7]) {
            case 0xFC:                                         /* enable */
                if (!foc_fault && !cal_req) {
                    foc_mode = 1; ctrl_mode = 2;
                    last_cmd_ms = HAL_GetTick(); can_en = 1;
                }
                break;
            case 0xFD: can_en = 0; break;                      /* disable */
            case 0xFE: if (!pwm_run) zero_req = 1; break;      /* zero */
            case 0xFB: if (!pwm_run) foc_fault = 0; break;     /* clear fault */
            }
            send_reply();
            continue;
        }
        uint32_t p  = (d[0] << 8) | d[1];
        uint32_t v  = (d[2] << 4) | (d[3] >> 4);
        uint32_t kp = ((d[3] & 0xF) << 8) | d[4];
        uint32_t kd = (d[5] << 4) | (d[6] >> 4);
        uint32_t t  = ((d[6] & 0xF) << 8) | d[7];
        if (can_en) {
            p_ref = u2f(p,  -P_MAX, P_MAX, 16);
            v_ff  = u2f(v,  -V_MAX, V_MAX, 12);
            kp_p  = u2f(kp, 0.0f, KP_MAX, 12);
            kd_p  = u2f(kd, 0.0f, KD_MAX, 12);
            t_ff  = u2f(t,  -T_MAX, T_MAX, 12);
            last_cmd_ms = HAL_GetTick();
            can_cmd_cnt++;
        }
        send_reply();
    }
}

void HAL_ADCEx_InjectedConvCpltCallback(ADC_HandleTypeDef *h)
{
    if (h->Instance != ADC1) return;
    uint32_t t0 = DWT->CYCCNT;

    /* --- currents --- */
    int32_t a = HAL_ADCEx_InjectedGetValue(h, ADC_INJECTED_RANK_1);
    int32_t b = HAL_ADCEx_InjectedGetValue(h, ADC_INJECTED_RANK_2);
    int32_t c = HAL_ADCEx_InjectedGetValue(h, ADC_INJECTED_RANK_3);
    so[0] = a; so[1] = b; so[2] = c;

    static int32_t sa, sb, sc, n;
    if (cal_req && pwm_run && ol_mode && !foc_mode && ol_v == 0.0f) {
        sa += a; sb += b; sc += c;
        if (++n == 1024) {
            off[0] = sa / 1024; off[1] = sb / 1024; off[2] = sc / 1024;
            sa = sb = sc = n = 0; cal_req = 0;
        }
    }
    ia = (a - off[0]) * A_PER_COUNT;
    ib = (b - off[1]) * A_PER_COUNT;
    ic = (c - off[2]) * A_PER_COUNT;
    isum = ia + ib + ic;

    /* --- encoder (moved here from the main loop) --- */
    raw = enc_frame();
    reads++;
    if (__builtin_parity(raw))      par_err++;
    else if (raw & 0x4000)          ef_cnt++;
    else                            ang = raw & 0x3FFF;
    ang32 = ang;
    float mech  = ang * (360.0f / 16384.0f);
    float raw_e = fmodf(mech * pole_pairs, 360.0f);
    if (align_req && pwm_run) { e_off = raw_e; align_req = 0; }
    e_deg = raw_e - e_off;
    if (e_deg < 0.0f) e_deg += 360.0f;

    /* --- multi-turn position + PLL speed estimate --- */
    const float TS = 50e-6f, CNT2RAD = 6.2831853f / 16384.0f;
    static int32_t last_ang = -1, pos_cnt = 0;
    static float pos_est = 0.0f, vel_est = 0.0f;
    if (last_ang < 0) { last_ang = ang; }
    int32_t dcnt = (int32_t)ang - last_ang;
    if (dcnt >  8192) dcnt -= 16384;
    if (dcnt < -8192) dcnt += 16384;
    last_ang = ang;
    pos_cnt += dcnt;
    float pos_meas = pos_cnt * CNT2RAD;

    float perr = pos_meas - pos_est;
    pos_est += TS * (vel_est + 2.0f * pll_bw * perr);
    vel_est += TS * (pll_bw * pll_bw * perr);
    pos = pos_meas;  vel = vel_est;  rpm = vel_est * 9.5493f;

    if (zero_req) { pos_zero = pos_meas; zero_req = 0; }
    p_rel = pos_meas - pos_zero;
    if (!pwm_run) p_ref = p_rel;       /* idle: target follows the rotor */

    /* --- overspeed trip --- */
    if (pwm_run && fabsf(vel_est) > vel_trip) {
        __HAL_TIM_MOE_DISABLE_UNCONDITIONALLY(&htim1);
        pwm_run = 0; foc_fault = 2;
    }

    /* --- velocity loop -> iq command --- */
    static float vel_int = 0.0f;
    if (foc_mode && pwm_run && ctrl_mode == 1) {            /* velocity */
        float ve = vel_ref - vel_est;
        vel_int = fminf(fmaxf(vel_int + vel_ki * ve * TS, -i_max), i_max);
        iq_cmd  = fminf(fmaxf(vel_kp * ve + vel_int, -i_max), i_max);
    } else if (foc_mode && pwm_run && ctrl_mode == 2) {     /* impedance */
        vel_int = 0.0f;
        float tq = kp_p * (p_ref - p_rel) + kd_p * (v_ff - vel_est) + t_ff;
        torque_cmd = tq;
        iq_cmd = fminf(fmaxf(tq / kt, -i_max), i_max);
    } else {                                                /* direct iq */
        vel_int = 0.0f;
        iq_cmd  = iq_ref;
    }

    /* --- hard overcurrent trip --- */
    if (pwm_run && drv_on && !cal_req &&
            (fabsf(ia) > i_trip || fabsf(ib) > i_trip || fabsf(ic) > i_trip)) {
        __HAL_TIM_MOE_DISABLE_UNCONDITIONALLY(&htim1);
        pwm_run = 0; foc_fault = 1;
    }

    /* --- current loop --- */
    static float id_int = 0.0f, iq_int = 0.0f;
    if (foc_mode && pwm_run) {
        float th = e_deg * 0.0174533f, s = sinf(th), co = cosf(th);

        float ial = ia;                              /* Clarke */
        float ibe = (ia + 2.0f * ib) * 0.57735f;
        id =  ial * co + ibe * s;                    /* Park */
        iq = -ial * s  + ibe * co;

        float idr = fminf(fmaxf(id_ref, -i_max), i_max);
        float iqr = fminf(fmaxf(iq_cmd, -i_max), i_max);
        float vlim = 0.9f * VBUS * 0.57735f;

        float ed = idr - id, eq = iqr - iq;          /* PI */
        id_int = fminf(fmaxf(id_int + ki_ts * ed, -vlim), vlim);
        iq_int = fminf(fmaxf(iq_int + ki_ts * eq, -vlim), vlim);
        float vdd = kp * ed + id_int, vqq = kp * eq + iq_int;
        float vm = sqrtf(vdd * vdd + vqq * vqq);
        if (vm > vlim) { vdd *= vlim / vm; vqq *= vlim / vm; }
        vd = vdd; vq = vqq;

        float val = vdd * co - vqq * s;              /* inverse Park */
        float vbe = vdd * s  + vqq * co;
        float Va = val;                              /* inverse Clarke */
        float Vb = -0.5f * val + 0.866025f * vbe;
        float Vc = -0.5f * val - 0.866025f * vbe;
        float vo = 0.5f * (fmaxf(Va, fmaxf(Vb, Vc)) + fminf(Va, fminf(Vb, Vc)));

        uint32_t arr = __HAL_TIM_GET_AUTORELOAD(&htim1);
        float k = arr / VBUS, mid = arr * 0.5f;
        __HAL_TIM_SET_COMPARE(&htim1, TIM_CHANNEL_1, (uint32_t)(mid + (Va - vo) * k));
        __HAL_TIM_SET_COMPARE(&htim1, TIM_CHANNEL_2, (uint32_t)(mid + (Vb - vo) * k));
        __HAL_TIM_SET_COMPARE(&htim1, TIM_CHANNEL_3, (uint32_t)(mid + (Vc - vo) * k));
    } else {
        id_int = iq_int = 0.0f;                      /* reset when not running */
    }

    isr_cycles = DWT->CYCCNT - t0;
    isr_cnt++;
}

/* USER CODE END 4 */

void Error_Handler(void)
{
  __disable_irq();
  while (1)
  {
  }
}
